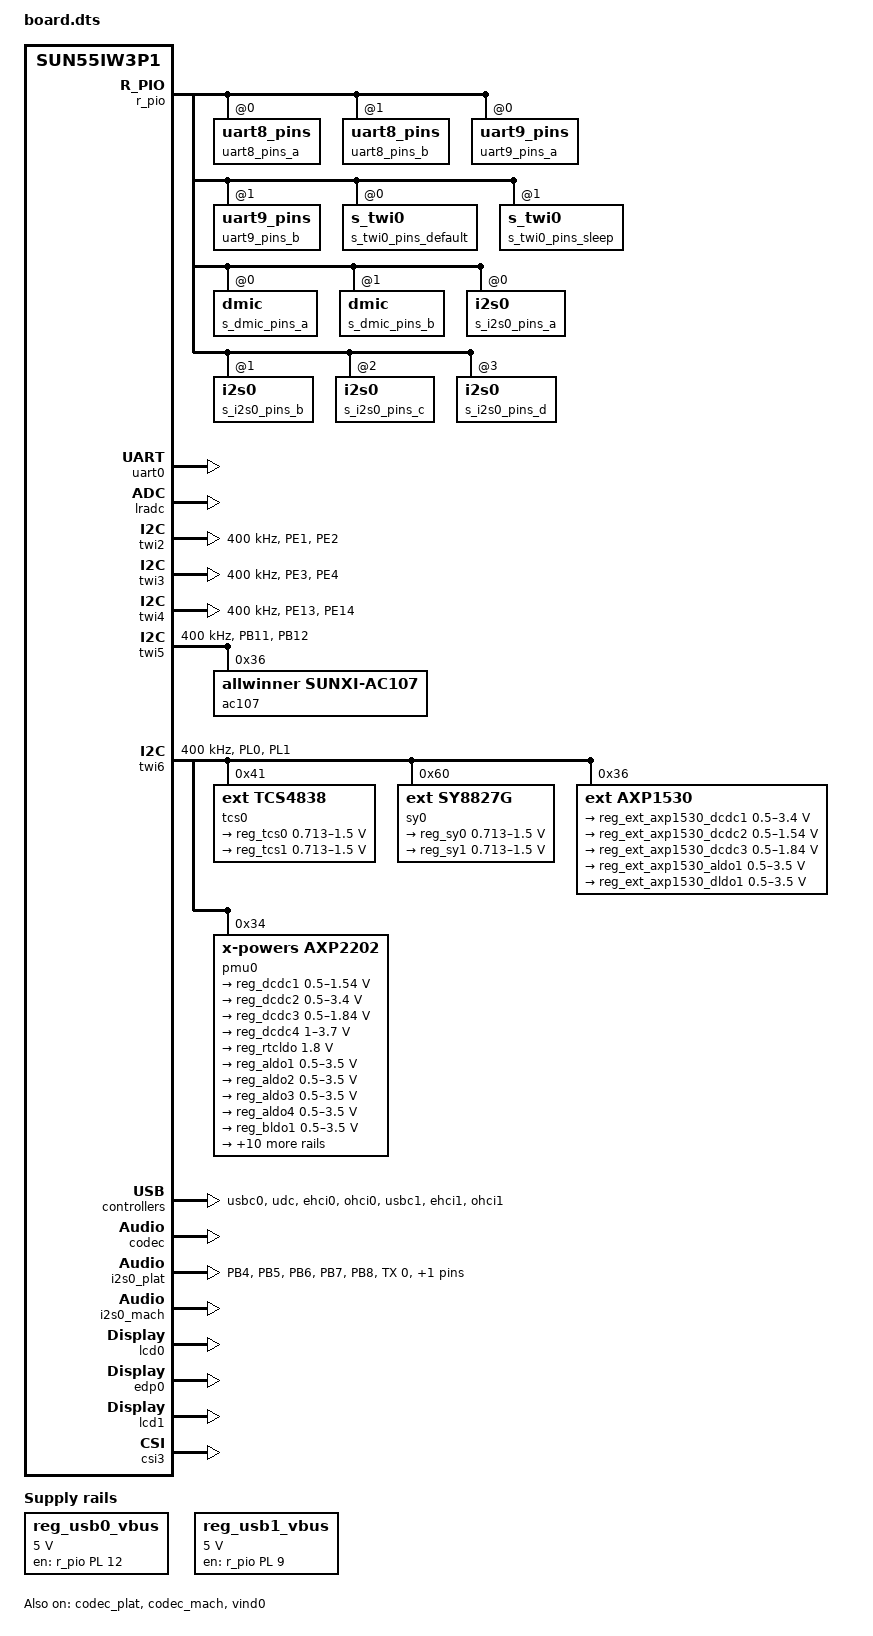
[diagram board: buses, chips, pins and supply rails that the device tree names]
// SPDX-License-Identifier: (GPL-2.0+ or MIT)

/dts-v1/;

#include "sun55iw3p1.dtsi"

/{
	board = "A523", "A523-PERF1-AXP717C";
	compatible = "allwinner,a523", "arm,sun55iw3p1";
	aliases {
		pmu0 = &pmu0;
		axp1530 = &axp1530;
		reg-tcs0 = &reg_tcs0;
		reg-sy0 = &reg_sy0;
		reg-axp1530 = &reg_ext_axp1530_dcdc1;
		tcs0 = &tcs0;
		sy0 = &sy0;
		cpu-ext = &cpu4;
	};

	reg_usb0_vbus: usb0-vbus {
		compatible = "regulator-fixed";
		regulator-name = "usb0-vbus";
		regulator-min-microvolt = <5000000>;
		regulator-max-microvolt = <5000000>;
		regulator-enable-ramp-delay = <1000>;
		gpio = <&r_pio PL 12 GPIO_ACTIVE_HIGH>;
		enable-active-high;
	};

	reg_usb1_vbus: usb1-vbus {
		compatible = "regulator-fixed";
		regulator-name = "usb1-vbus";
		regulator-min-microvolt = <5000000>;
		regulator-max-microvolt = <5000000>;
		regulator-enable-ramp-delay = <1000>;
		gpio = <&r_pio PL 9 GPIO_ACTIVE_HIGH>;
		enable-active-high;
	};
};

&pio {
	uart0_pins_a: uart0_pins@0 {
		pins = "", "";
		function = "uart0";
	};

	uart0_pins_b: uart0_pins@1 {
		pins = "", "";
		function = "gpio_in";
	};

	uart1_pins_a: uart1@0 {
		pins = "PG6", "PG7", "PG8", "PG9";
		function = "uart1";
	};

	uart1_pins_b: uart1@1 {
		pins = "PG6", "PG7", "PG8", "PG9";
		function = "gpio_in";
	};

	uart2_pins_a: uart2_pins@0 {
		pins = "PB0", "PB1";
		function = "uart2";
	};

	uart2_pins_b: uart2_pins@1 {
		pins = "PB0", "PB1";
		function = "gpio_in";
	};

	uart3_pins_a: uart3_pins@0 {
		pins = "PD14", "PD15";
		function = "uart3";
	};

	uart3_pins_b: uart3_pins@1 {
		pins = "PD14", "PD15";
		function = "gpio_in";
	};

	uart4_pins_a: uart4_pins@0 {
		pins = "PD18", "PD19";
		function = "uart4";
	};

	uart4_pins_b: uart4_pins@1 {
		pins = "PD18", "PD19";
		function = "gpio_in";
	};

	uart5_pins_a: uart5_pins@0 {
		pins = "PE11", "PE12";
		function = "uart5";
	};

	uart5_pins_b: uart5_pins@1 {
		pins = "PE11", "PE12";
		function = "gpio_in";
	};

	uart6_pins_a: uart6_pins@0 {
		pins = "PK18", "PK19";
		function = "uart6";
	};

	uart6_pins_b: uart6_pins@1 {
		pins = "PK18", "PK19";
		function = "gpio_in";
	};

	uart7_pins_a: uart7_pins@0 {
		pins = "PB11", "PB12";
		function = "uart7";
	};

	uart7_pins_b: uart7_pins@1 {
		pins = "PB11", "PB12";
		function = "gpio_in";
	};

	ledc_pins_a: ledc@0 {
		pins = "PE5";
		function = "ledc";
	};

	ledc_pins_b: ledc@1 {
		pins = "PE5";
		function = "gpio_in";
	};

	twi0_pins_default: twi0@0 {
		pins = "PH0", "PH1";
		function = "twi0";
		drive-strength = <10>;
		bias-pull-up;
	};

	twi0_pins_sleep: twi0@1 {
		pins = "PH0", "PH1";
		function = "gpio_in";
	};

	twi1_pins_default: twi1@0 {
		pins = "PH2", "PH3";
		function = "twi1";
		drive-strength = <10>;
		bias-pull-up;
	};

	twi1_pins_sleep: twi1@1 {
		pins = "PH2", "PH3";
		function = "gpio_in";
	};

	twi2_pins_default: twi2@0 {
		pins = "PE1", "PE2";
		function = "twi2";
		drive-strength = <10>;
		bias-pull-up;
	};

	twi2_pins_sleep: twi2@1 {
		pins = "PE1", "PE2";
		function = "gpio_in";
	};

	twi3_pins_default: twi3@0 {
		pins = "PE3", "PE4";
		function = "twi3";
		drive-strength = <10>;
		bias-pull-up;
	};

	twi3_pins_sleep: twi3@1 {
		pins = "PE3", "PE4";
		function = "gpio_in";
	};

	twi4_pins_default: twi4@0 {
		pins = "PE13", "PE14";
		function = "twi4";
		drive-strength = <10>;
		bias-pull-up;
	};

	twi4_pins_sleep: twi4@1 {
		pins = "PE13", "PE14";
		function = "gpio_in";
	};

	twi5_pins_default: twi5@0 {
		pins = "PB11", "PB12";
		function = "twi5";
		drive-strength = <10>;
		bias-pull-up;
	};

	twi5_pins_sleep: twi5@1 {
		pins = "PB11", "PB12";
		function = "gpio_in";
	};

	owa_pins_a: owa@0 {
		pins = "PH6", "PH7";
		function = "owa";
		drive-strength = <20>;
		bias-disable;
	};

	owa_pins_b: owa@1 {
		pins = "PH6", "PH7";
		function = "io_disabled";
		drive-strength = <20>;
		bias-disable;
	};

	dmic_pins_a: dmic@0 {
		pins = "PH8", "PH9", "PH10", "PH11", "PH12";
		function = "dmic";
		drive-strength = <20>;
		bias-disable;
	};

	dmic_pins_b: dmic@1 {
		pins = "PH8", "PH9", "PH10", "PH11", "PH12";
		function = "io_disabled";
		drive-strength = <20>;
		bias-disable;
	};

	i2s0_pins_a: i2s0@0 {
		pins = "PB4", "PB5", "PB6";
		function = "i2s0";
		drive-strength = <20>;
		bias-disable;
	};

	i2s0_pins_b: i2s0@1 {
		pins = "PB4", "PB5", "PB6", "PB7", "PB8";
		function = "io_disabled";
		drive-strength = <20>;
		bias-disable;
	};

	i2s0_pins_c: i2s0@2 {
		pins = "PB7";
		function = "i2s0_dout";
		drive-strength = <20>;
		bias-disable;
	};

	i2s0_pins_d: i2s0@3 {
		pins = "PB8";
		function = "i2s0_din";
		drive-strength = <20>;
		bias-disable;
	};

	i2s1_pins_a: i2s1@0 {
		pins = "PG10", "PG11", "PG12";
		function = "i2s1";
		drive-strength = <20>;
		bias-disable;
	};

	i2s1_pins_b: i2s1@1 {
		pins = "PG10", "PG11", "PG12", "PG13", "PG14";
		function = "io_disabled";
		drive-strength = <20>;
		bias-disable;
	};

	i2s1_pins_c: i2s1@2 {
		pins = "PG13";
		function = "i2s1_dout";
		drive-strength = <20>;
		bias-disable;
	};

	i2s1_pins_d: i2s1@3 {
		pins = "PG14";
		function = "i2s1_din";
		drive-strength = <20>;
		bias-disable;
	};

	i2s2_pins_a: i2s2@0 {
		pins = "PH9", "PH10";
		function = "i2s2";
		drive-strength = <20>;
		bias-disable;
	};

	i2s2_pins_b: i2s2@1 {
		pins = "PH2", "PH3", "PH8", "PH9", "PH10", "PH11", "PH12";
		function = "io_disabled";
		drive-strength = <20>;
		bias-disable;
	};

	i2s2_pins_c: i2s2@2 {
		pins = "PH2", "PH3", "PH12";
		function = "i2s2_din";
		drive-strength = <20>;
		bias-disable;
	};

	i2s2_pins_d: i2s2@3 {
		pins = "PH11";
		function = "i2s2_dout";
		drive-strength = <20>;
		bias-disable;
	};

	i2s2_pins_e: i2s2@4 {
		pins = "PH8";
		function = "i2s2_mclk";
		drive-strength = <20>;
		bias-disable;
	};

	i2s3_pins_a: i2s3@0 {
		pins = "PF3", "PF5", "PF6";
		function = "i2s3";
		drive-strength = <20>;
		bias-disable;
	};

	i2s3_pins_b: i2s3@1 {
		pins = "PF0", "PF1", "PF2", "PF3", "PF4", "PF5", "PF6";
		function = "io_disabled";
		drive-strength = <20>;
		bias-disable;
	};

	i2s3_pins_c: i2s3@2 {
		pins = "PF0", "PF2", "PF4";
		function = "i2s3_din";
		drive-strength = <20>;
		bias-disable;
	};

	i2s3_pins_d: i2s3@3 {
		pins = "PF1";
		function = "i2s3_dout";
		drive-strength = <20>;
		bias-disable;
	};
};

&r_pio {
	uart8_pins_a: uart8_pins@0 {
		pins = "PL2", "PL3";
		function = "s_uart0";
	};

	uart8_pins_b: uart8_pins@1 {
		pins = "PL2", "PL3";
		function = "gpio_in";
	};

	uart9_pins_a: uart9_pins@0 {
		pins = "PM0", "PM1";
		function = "s_uart1";
	};

	uart9_pins_b: uart9_pins@1 {
		pins = "PM0", "PM1";
		function = "gpio_in";
	};

	s_twi0_pins_default: s_twi0@0 {
		pins = "PL0", "PL1";
		function = "s_twi0";
		drive-strength = <10>;
		bias-pull-up;
	};

	s_twi0_pins_sleep: s_twi0@1 {
		pins = "PL0", "PL1";
		function = "gpio_in";
	};

	s_dmic_pins_a: dmic@0 {
		pins = "PL5", "PL6", "PL7", "PL8", "PL9";
		function = "dmic";
		drive-strength = <20>;
		bias-disable;
	};

	s_dmic_pins_b: dmic@1 {
		pins = "PL5", "PL6", "PL7", "PL8", "PL9";
		function = "io_disabled";
		drive-strength = <20>;
		bias-disable;
	};

	s_i2s0_pins_a: i2s0@0 {
		pins = "PL4", "PL5", "PL8";
		function = "i2s0";
		drive-strength = <20>;
		bias-disable;
	};

	s_i2s0_pins_b: i2s0@1 {
		pins = "PL4", "PL5", "PL6", "PL7", "PL8";
		function = "io_disabled";
		drive-strength = <20>;
		bias-disable;
	};

	s_i2s0_pins_c: i2s0@2 {
		pins = "PL6";
		function = "i2s0_din";
		drive-strength = <20>;
		bias-disable;
	};

	s_i2s0_pins_d: i2s0@3 {
		pins = "PL7";
		function = "i2s0_dout";
		drive-strength = <20>;
		bias-disable;
	};
};

&soc {
		auto_print@54321 {
			reg = <0x0 0x54321 0x0 0x0>;
			device_type = "auto_print";
			status = "okay";
		};
};

&uart0 {
	pinctrl-names = "default", "sleep";
	pinctrl-0 = <&uart0_pins_a>;
	pinctrl-1 = <&uart0_pins_b>;
	status = "okay";
};

&uart1 {
	pinctrl-names = "default", "sleep";
	pinctrl-0 = <&uart1_pins_a>;
	pinctrl-1 = <&uart1_pins_b>;
	status = "disabled";
};

&uart2 {
	pinctrl-names = "default", "sleep";
	pinctrl-0 = <&uart2_pins_a>;
	pinctrl-1 = <&uart2_pins_b>;
	status = "disabled";
};

&uart3 {
	pinctrl-names = "default", "sleep";
	pinctrl-0 = <&uart3_pins_a>;
	pinctrl-1 = <&uart3_pins_b>;
	status = "disabled";
};

&uart4 {
	pinctrl-names = "default", "sleep";
	pinctrl-0 = <&uart4_pins_a>;
	pinctrl-1 = <&uart4_pins_b>;
	status = "disabled";
};

&uart5 {
	pinctrl-names = "default", "sleep";
	pinctrl-0 = <&uart5_pins_a>;
	pinctrl-1 = <&uart5_pins_b>;
	status = "disabled";
};

&uart6 {
	pinctrl-names = "default", "sleep";
	pinctrl-0 = <&uart6_pins_a>;
	pinctrl-1 = <&uart6_pins_b>;
	status = "disabled";
};

&uart7 {
	pinctrl-names = "default", "sleep";
	pinctrl-0 = <&uart7_pins_a>;
	pinctrl-1 = <&uart7_pins_b>;
	status = "disabled";
};

&uart8 {
	pinctrl-names = "default", "sleep";
	pinctrl-0 = <&uart8_pins_a>;
	pinctrl-1 = <&uart8_pins_b>;
	status = "disabled";
};

&uart9 {
	pinctrl-names = "default", "sleep";
	pinctrl-0 = <&uart9_pins_a>;
	pinctrl-1 = <&uart9_pins_b>;
	status = "disabled";
};

&ledc  {
	pinctrl-names = "default", "sleep";
	pinctrl-0 = <&ledc_pins_a>;
	pinctrl-1 = <&ledc_pins_b>;
	led_count = <34>;
	output_mode = "GRB";
	reset_ns = <84>;
	t1h_ns = <800>;
	t1l_ns = <320>;
	t0h_ns = <300>;
	t0l_ns = <800>;
	wait_time0_ns = <84>;
	wait_time1_ns = <84>;
	wait_data_time_ns = <600000>;
	status = "disabled";
};

&lradc {
	key_cnt = <5>;
	key0 = <210 115>;
	key1 = <410 114>;
	key2 = <590 139>;
	key3 = <750 28>;
	key4 = <880 172>;
	status = "okay";
};

&twi0 {
	clock-frequency = <400000>;
	pinctrl-0 = <&twi0_pins_default>;
	pinctrl-1 = <&twi0_pins_sleep>;
	pinctrl-names = "default", "sleep";
	/* For stability and backwards compatibility, we recommend setting ‘twi_drv_used’ to 1 */
	twi_drv_used = <1>;
	status = "disabled";
};

&twi1 {
	clock-frequency = <400000>;
	pinctrl-0 = <&twi1_pins_default>;
	pinctrl-1 = <&twi1_pins_sleep>;
	pinctrl-names = "default", "sleep";
	/* For stability and backwards compatibility, we recommend setting ‘twi_drv_used’ to 1 */
	twi_drv_used = <1>;
	status = "disabled";
};

&twi2 {
	clock-frequency = <400000>;
	pinctrl-0 = <&twi2_pins_default>;
	pinctrl-1 = <&twi2_pins_sleep>;
	pinctrl-names = "default", "sleep";
	/* For stability and backwards compatibility, we recommend setting ‘twi_drv_used’ to 1 */
	twi_drv_used = <1>;
	status = "okay";
};

&twi3 {
	clock-frequency = <400000>;
	pinctrl-0 = <&twi3_pins_default>;
	pinctrl-1 = <&twi3_pins_sleep>;
	pinctrl-names = "default", "sleep";
	/* For stability and backwards compatibility, we recommend setting ‘twi_drv_used’ to 1 */
	twi_drv_used = <1>;
	status = "okay";
};

&twi4 {
	clock-frequency = <400000>;
	pinctrl-0 = <&twi4_pins_default>;
	pinctrl-1 = <&twi4_pins_sleep>;
	pinctrl-names = "default", "sleep";
	/* For stability and backwards compatibility, we recommend setting ‘twi_drv_used’ to 1 */
	twi_drv_used = <1>;
	status = "okay";
};

&twi5 {
	clock-frequency = <400000>;
	pinctrl-0 = <&twi5_pins_default>;
	pinctrl-1 = <&twi5_pins_sleep>;
	pinctrl-names = "default", "sleep";
	/* For stability and backwards compatibility, we recommend setting ‘twi_drv_used’ to 1 */
	twi_drv_used = <1>;
	status = "okay";

	ac107: ac107@36 {
		#sound-dai-cells        = <0>;
		compatible              = "allwinner,sunxi-ac107";
		reg                     = <0x36>;
		pllclk-src              = "MCLK";
		sysclk-src              = "MCLK";
		pcm-bit-first           = "MSB";
		frame-sync-width        = <1>;
		tx-pin-chmap0           = <0x10101010>;
		tx-pin-chmap1           = <0x10101010>;
		ch1-dig-vol             = <160>;
		ch2-dig-vol             = <160>;
		ch1-pga-gain            = <26>;
		ch2-pga-gain            = <26>;
		status                  = "okay";
	};
};

&twi6 {
	clock-frequency = <400000>;
	pinctrl-0 = <&s_twi0_pins_default>;
	pinctrl-1 = <&s_twi0_pins_sleep>;
	pinctrl-names = "default", "sleep";
	device_type = "twi6";
	/* For stability and backwards compatibility, we recommend setting ‘twi_drv_used’ to 1 */
	twi_drv_used = <1>;
	no_suspend = <1>;
	status = "okay";

	tcs0: tcs@41 {
		compatible = "ext,tcs4838";
		reg = <0x41>;
		status = "okay";
		tcs4838_delay = <0>;
		regulator1: regulators@1 {
			reg_tcs0: dcdc0 {
				regulator-name = "tcs4838-dcdc0";
				regulator-min-microvolt = <712500>;
				regulator-max-microvolt = <1500000>;
				regulator-ramp-delay = <520>;
				regulator-enable-ramp-delay = <1000>;
				regulator-always-on;
				regulator-boot-on;
			};
			reg_tcs1: dcdc1 {
				regulator-name = "tcs4838-dcdc1";
				regulator-min-microvolt = <712500>;
				regulator-max-microvolt = <1500000>;
				regulator-ramp-delay = <520>;
				regulator-enable-ramp-delay = <1000>;
			};
		};
		virtual-ext-dcdc0 {
			compatible = "xpower-vregulator,ext-dcdc0";
			dcdc0-supply = <&reg_tcs0>;
		};
		virtual-ext-dcdc1 {
			compatible = "xpower-vregulator,ext-dcdc1";
			dcdc1-supply = <&reg_tcs1>;
		};
	};

	sy0: sy@60 {
		compatible = "ext,sy8827g";
		reg = <0x60>;
		status = "okay";
		sy8827g_delay = <0>;
		regulator2: regulators@2 {
			reg_sy0: dcdc0 {
				regulator-name = "sy8827g-dcdc0";
				regulator-min-microvolt = <712500>;
				regulator-max-microvolt = <1500000>;
				regulator-ramp-delay = <520>;
				regulator-enable-ramp-delay = <1000>;
				regulator-always-on;
				regulator-boot-on;
			};
			reg_sy1: dcdc1 {
				regulator-name = "sy8827g-dcdc1";
				regulator-min-microvolt = <712500>;
				regulator-max-microvolt = <1500000>;
				regulator-ramp-delay = <520>;
				regulator-enable-ramp-delay = <1000>;
			};
		};
		virtual-ext-dcdc0 {
			compatible = "xpower-vregulator,ext-dcdc0";
			dcdc0-supply = <&reg_sy0>;
		};
		virtual-ext-dcdc1 {
			compatible = "xpower-vregulator,ext-dcdc1";
			dcdc1-supply = <&reg_sy1>;
		};
	};

	axp1530: axp1530@36{
		compatible = "ext,axp1530";
		status = "okay";
		reg = <0x36>;

		wakeup-source;

		regulators{
			reg_ext_axp1530_dcdc1: dcdc1 {
				regulator-name = "axp1530-dcdc1";
				regulator-min-microvolt = <500000>;
				regulator-max-microvolt = <3400000>;
				regulator-step-delay-us = <25>;
				regulator-final-delay-us = <50>;
				regulator-always-on;
			};

			reg_ext_axp1530_dcdc2: dcdc2 {
				regulator-name = "axp1530-dcdc2";
				regulator-min-microvolt = <500000>;
				regulator-max-microvolt = <1540000>;
				regulator-step-delay-us = <25>;
				regulator-final-delay-us = <50>;
				regulator-ramp-delay = <200>; /* FIXME */
				regulator-always-on;
			};

			reg_ext_axp1530_dcdc3: dcdc3 {
				regulator-name = "axp1530-dcdc3";
				regulator-min-microvolt = <500000>;
				regulator-max-microvolt = <1840000>;
				regulator-step-delay-us = <25>;
				regulator-final-delay-us = <50>;
			};

			reg_ext_axp1530_aldo1: ldo1 {
				regulator-name = "axp1530-aldo1";
				regulator-min-microvolt = <500000>;
				regulator-max-microvolt = <3500000>;
				regulator-step-delay-us = <25>;
				regulator-final-delay-us = <50>;
			};

			reg_ext_axp1530_dldo1: ldo2 {
				regulator-name = "axp1530-dldo1";
				regulator-min-microvolt = <500000>;
				regulator-max-microvolt = <3500000>;
				regulator-step-delay-us = <25>;
				regulator-final-delay-us = <50>;
			};
		};
		virtual-ext-dcdc1 {
			compatible = "xpower-vregulator,ext-dcdc1";
			dcdc1-supply = <&reg_ext_axp1530_dcdc1>;
		};
		virtual-ext-dcdc2 {
			compatible = "xpower-vregulator,ext-dcdc2";
			dcdc2-supply = <&reg_ext_axp1530_dcdc2>;
		};
		virtual-ext-dcdc3 {
			compatible = "xpower-vregulator,ext-dcdc3";
			dcdc3-supply = <&reg_ext_axp1530_dcdc3>;
		};
		virtual-ext-aldo1 {
			compatible = "xpower-vregulator,ext-aldo1";
			aldo1-supply = <&reg_ext_axp1530_aldo1>;
		};
		virtual-ext-dldo1 {
			compatible = "xpower-vregulator,ext-dldo1";
			dldo1-supply = <&reg_ext_axp1530_dldo1>;
		};

	};

	pmu0: pmu@34 {
		compatible = "x-powers,axp2202";
		reg = <0x34>;
		status = "okay";
		interrupts = <0 IRQ_TYPE_LEVEL_LOW>;
		interrupt-parent = <&nmi_intc>;
		x-powers,drive-vbus-en;
		pmu_reset = <0>;
		pmu_irq_wakeup = <1>;
		pmu_hot_shutdown = <1>;

		wakeup-source;

		usb_power_supply: usb_power_supply {
			compatible = "x-powers,axp2202-usb-power-supply";
			status = "okay";

			pmu_usbpc_vol = <4600>;
			pmu_usbpc_cur = <500>;
			pmu_usbad_vol = <4000>;
			pmu_usbad_cur = <2500>;
			pmu_usb_typec_used = <1>;
			wakeup_usb_in;
			wakeup_usb_out;
			/* wakeup_typec_in; */
			/* wakeup_typec_out; */

			det_acin_supply = <&gpio_power_supply>;
			pmu_acin_usbid_drv = <&pio PH 12 GPIO_ACTIVE_LOW>;
			pmu_vbus_det_gpio = <&pio PH 13 GPIO_ACTIVE_LOW>;
		};

		gpio_power_supply: gpio_power_supply {
			compatible = "x-powers,gpio-supply";
			status = "disabled";
			pmu_acin_det_gpio = <&pio PH 14 GPIO_ACTIVE_LOW>;
			det_usb_supply = <&usb_power_supply>;
		};

		bat_power_supply: bat-power-supply {
			compatible = "x-powers,axp2202-bat-power-supply";
			param = <&axp2202_parameter>;
			status = "okay";

			pmu_chg_ic_temp = <0>;

			pmu_battery_rdc= <170>;
			pmu_battery_cap = <5000>;
			pmu_runtime_chgcur = <1000>;
			pmu_suspend_chgcur = <1500>;
			pmu_shutdown_chgcur = <1500>;
			pmu_init_chgvol = <4350>;
			pmu_battery_warning_level1 = <15>;
			pmu_battery_warning_level2 = <0>;
			pmu_chgled_func = <0>;
			pmu_chgled_type = <0>;
			pmu_bat_para1 = <0>;
			pmu_bat_para2 = <0>;
			pmu_bat_para3 = <0>;
			pmu_bat_para4 = <0>;
			pmu_bat_para5 = <0>;
			pmu_bat_para6 = <0>;
			pmu_bat_para7 = <2>;
			pmu_bat_para8 = <3>;
			pmu_bat_para9 = <4>;
			pmu_bat_para10 = <6>;
			pmu_bat_para11 = <9>;
			pmu_bat_para12 = <14>;
			pmu_bat_para13 = <26>;
			pmu_bat_para14 = <38>;
			pmu_bat_para15 = <49>;
			pmu_bat_para16 = <52>;
			pmu_bat_para17 = <56>;
			pmu_bat_para18 = <60>;
			pmu_bat_para19 = <64>;
			pmu_bat_para20 = <70>;
			pmu_bat_para21 = <77>;
			pmu_bat_para22 = <83>;
			pmu_bat_para23 = <87>;
			pmu_bat_para24 = <90>;
			pmu_bat_para25 = <95>;
			pmu_bat_para26 = <99>;
			pmu_bat_para27 = <99>;
			pmu_bat_para28 = <100>;
			pmu_bat_para29 = <100>;
			pmu_bat_para30 = <100>;
			pmu_bat_para31 = <100>;
			pmu_bat_para32 = <100>;

			pmu_bat_temp_enable = <1>;
			pmu_jetia_en        = <1>;
			pmu_bat_charge_ltf = <1695>; //-5
			pmu_bat_charge_htf = <151>; //60
			pmu_bat_shutdown_ltf = <2125>; //-10
			pmu_bat_shutdown_htf = <131>; //65
			pmu_jetia_cool = <1361>; //0
			pmu_jetia_warm = <208>; //50
			pmu_jcool_ifall = <0>;//100%
			pmu_jwarm_ifall = <0>;//100%
			pmu_bat_temp_para1 = <4378>; //Murata -25
			pmu_bat_temp_para2 = <2682>; //-15
			pmu_bat_temp_para3 = <2125>; //-10
			pmu_bat_temp_para4 = <1695>; //-5
			pmu_bat_temp_para5 = <1361>;//0
			pmu_bat_temp_para6 = <1101>; //5
			pmu_bat_temp_para7 = <896>; //10
			pmu_bat_temp_para8 = <604>; //20
			pmu_bat_temp_para9 = <416>; //30
			pmu_bat_temp_para10 = <292>; //40
			pmu_bat_temp_para11 = <246>; //45
			pmu_bat_temp_para12 = <208>; //50
			pmu_bat_temp_para13 = <177>; //55
			pmu_bat_temp_para14 = <151>; //60
			pmu_bat_temp_para15 = <111>; //70
			pmu_bat_temp_para16 = <83>; //80

			wakeup_bat_out;
			/* wakeup_new_soc; */
			/* wakeup_bat_in; */
			/* wakeup_bat_charging; */
			/* wakeup_bat_charge_over; */
			/* wakeup_low_warning1; */
			/* wakeup_low_warning2; */
			wakeup_bat_untemp_work;
			wakeup_bat_ovtemp_work;
			/* wakeup_bat_untemp_chg; */
			/* wakeup_bat_ovtemp_chg; */
		};

		powerkey0: powerkey@0 {
			status = "okay";
			compatible = "x-powers,axp2101-pek";
			pmu_powkey_off_time = <6000>;
			pmu_powkey_off_func = <0>;
			pmu_powkey_off_en = <1>;
			pmu_powkey_long_time = <1500>;
			pmu_powkey_on_time = <512>;
			wakeup_rising;
			wakeup_falling;
		};

		regulator0: regulators@0 {
			reg_dcdc1: dcdc1 {
				regulator-name = "axp2202-dcdc1";
				regulator-min-microvolt = <500000>;
				regulator-max-microvolt = <1540000>;
				regulator-ramp-delay = <250>;
				regulator-enable-ramp-delay = <1000>;
				regulator-boot-on;
				regulator-always-on;
			};
			reg_dcdc2: dcdc2 {
				regulator-name = "axp2202-dcdc2";
				regulator-min-microvolt = <500000>;
				regulator-max-microvolt = <3400000>;
				regulator-ramp-delay = <250>;
				regulator-enable-ramp-delay = <1000>;
				regulator-boot-on;
				regulator-always-on;
			};
			reg_dcdc3: dcdc3 {
				regulator-name = "axp2202-dcdc3";
				regulator-min-microvolt = <500000>;
				regulator-max-microvolt = <1840000>;
				regulator-ramp-delay = <250>;
				regulator-enable-ramp-delay = <1000>;
				regulator-always-on;
			};
			reg_dcdc4: dcdc4 {
				regulator-name = "axp2202-dcdc4";
				regulator-min-microvolt = <1000000>;
				regulator-max-microvolt = <3700000>;
				regulator-ramp-delay = <250>;
				regulator-enable-ramp-delay = <1000>;
			};
			reg_rtcldo: rtcldo {
				/* RTC_LDO is a fixed, always-on regulator */
				regulator-name = "axp2202-rtcldo";
				regulator-min-microvolt = <1800000>;
				regulator-max-microvolt = <1800000>;
				regulator-boot-on;
				regulator-always-on;
			};
			reg_aldo1: aldo1 {
				regulator-name = "axp2202-aldo1";
				regulator-min-microvolt = <500000>;
				regulator-max-microvolt = <3500000>;
				regulator-enable-ramp-delay = <1000>;
			};
			reg_aldo2: aldo2 {
				regulator-name = "axp2202-aldo2";
				regulator-min-microvolt = <500000>;
				regulator-max-microvolt = <3500000>;
				regulator-enable-ramp-delay = <1000>;
			};
			reg_aldo3: aldo3 {
				regulator-name = "axp2202-aldo3";
				regulator-min-microvolt = <500000>;
				regulator-max-microvolt = <3500000>;
				regulator-enable-ramp-delay = <1000>;
				regulator-always-on;
				regulator-boot-on;
			};
			reg_aldo4: aldo4 {
				regulator-name = "axp2202-aldo4";
				regulator-min-microvolt = <500000>;
				regulator-max-microvolt = <3500000>;
				regulator-enable-ramp-delay = <1000>;
				regulator-always-on;
				regulator-boot-on;
			};
			reg_bldo1: bldo1 {
				regulator-name = "axp2202-bldo1";
				regulator-min-microvolt = <500000>;
				regulator-max-microvolt = <3500000>;
				regulator-enable-ramp-delay = <1000>;
			};
			reg_bldo2: bldo2 {
				regulator-name = "axp2202-bldo2";
				regulator-min-microvolt = <500000>;
				regulator-max-microvolt = <3500000>;
				regulator-enable-ramp-delay = <1000>;
				regulator-boot-on;
				regulator-always-on;
			};
			reg_bldo3: bldo3 {
				regulator-name = "axp2202-bldo3";
				regulator-min-microvolt = <500000>;
				regulator-max-microvolt = <3500000>;
				regulator-enable-ramp-delay = <1000>;
			};
			reg_bldo4: bldo4 {
				regulator-name = "axp2202-bldo4";
				regulator-min-microvolt = <500000>;
				regulator-max-microvolt = <3500000>;
				regulator-enable-ramp-delay = <1000>;
			};
			reg_cldo1: cldo1 {
				regulator-name = "axp2202-cldo1";
				regulator-min-microvolt = <500000>;
				regulator-max-microvolt = <3500000>;
				regulator-enable-ramp-delay = <1000>;
			};
			reg_cldo2: cldo2 {
				regulator-name = "axp2202-cldo2";
				regulator-min-microvolt = <500000>;
				regulator-max-microvolt = <3500000>;
				regulator-enable-ramp-delay = <1000>;
			};
			reg_cldo3: cldo3 {
				regulator-name = "axp2202-cldo3";
				regulator-min-microvolt = <500000>;
				regulator-max-microvolt = <3500000>;
				regulator-ramp-delay = <2500>;
				regulator-enable-ramp-delay = <1000>;
				regulator-boot-on;
				regulator-always-on;
			};
			reg_cldo4: cldo4 {
				regulator-name = "axp2202-cldo4";
				regulator-min-microvolt = <500000>;
				regulator-max-microvolt = <3500000>;
				regulator-enable-ramp-delay = <1000>;
			};
			reg_cpusldo: cpusldo {
				/* cpus */
				regulator-name = "axp2202-cpusldo";
				regulator-min-microvolt = <500000>;
				regulator-max-microvolt = <1400000>;
				regulator-boot-on;
				regulator-always-on;
			};
			reg_vmid: vmid {
				regulator-name = "axp2202-vmid";
				regulator-enable-ramp-delay = <1000>;
			};
			reg_drivevbus: drivevbus {
				regulator-name = "axp2202-drivevbus";
				regulator-enable-ramp-delay = <1000>;
				drivevbusin-supply = <&reg_vmid>;
			};
		};

		virtual-dcdc1 {
			compatible = "xpower-vregulator,dcdc1";
			dcdc1-supply = <&reg_dcdc1>;
		};
		virtual-dcdc2 {
			compatible = "xpower-vregulator,dcdc2";
			dcdc2-supply = <&reg_dcdc2>;
		};
		virtual-dcdc3 {
			compatible = "xpower-vregulator,dcdc3";
			dcdc3-supply = <&reg_dcdc3>;
		};
		virtual-dcdc4 {
			compatible = "xpower-vregulator,dcdc4";
			dcdc4-supply = <&reg_dcdc4>;
		};
		virtual-rtcldo {
			compatible = "xpower-vregulator,rtcldo";
			rtcldo-supply = <&reg_rtcldo>;
		};
		virtual-aldo1 {
			compatible = "xpower-vregulator,aldo1";
			aldo1-supply = <&reg_aldo1>;
		};
		virtual-aldo2 {
			compatible = "xpower-vregulator,aldo2";
			aldo2-supply = <&reg_aldo2>;
		};
		virtual-aldo3 {
			compatible = "xpower-vregulator,aldo3";
			aldo3-supply = <&reg_aldo3>;
		};
		virtual-aldo4 {
			compatible = "xpower-vregulator,aldo4";
			aldo4-supply = <&reg_aldo4>;
		};
		virtual-bldo1 {
			compatible = "xpower-vregulator,bldo1";
			bldo1-supply = <&reg_bldo1>;
		};
		virtual-bldo2 {
			compatible = "xpower-vregulator,bldo2";
			bldo2-supply = <&reg_bldo2>;
		};
		virtual-bldo3 {
			compatible = "xpower-vregulator,bldo3";
			bldo3-supply = <&reg_bldo3>;
		};
		virtual-bldo4 {
			compatible = "xpower-vregulator,bldo4";
			bldo4-supply = <&reg_bldo4>;
		};
		virtual-cldo1 {
			compatible = "xpower-vregulator,cldo1";
			cldo1-supply = <&reg_cldo1>;
		};
		virtual-cldo2 {
			compatible = "xpower-vregulator,cldo2";
			cldo2-supply = <&reg_cldo2>;
		};
		virtual-cldo3 {
			compatible = "xpower-vregulator,cldo3";
			cldo3-supply = <&reg_cldo3>;
		};
		virtual-cldo4 {
			compatible = "xpower-vregulator,cldo4";
			cldo4-supply = <&reg_cldo4>;
		};
		virtual-cpusldo {
			compatible = "xpower-vregulator,cpusldo";
			cpusldo-supply = <&reg_cpusldo>;
		};
		virtual-drivevbus {
			compatible = "xpower-vregulator,drivevbus";
			drivevbus-supply = <&reg_drivevbus>;
		};
		axp_gpio0: axp_gpio@0 {
			gpio-controller;
			#size-cells = <0>;
			#gpio-cells = <6>;
			status = "okay";
		};
	};
};

/{
	axp2202_parameter:axp2202-parameter {
		select = "battery-model";

		battery-model {
			parameter = /bits/ 8 <0x01 0xf5 0x40 0x00 0x1b 0x1e 0x28 0x0f
				0x0c 0x1e 0x32 0x02 0x14 0x05 0x0a 0x04
				0x74 0xfb 0xc8 0x0d 0x43 0x10 0xcc 0xfb
				0x46 0x01 0xea 0x14 0x10 0x06 0xcc 0x06
				0x9d 0x0b 0x63 0x0f 0xf4 0x0f 0x94 0x0a
				0x4f 0x0e 0xf4 0x0e 0xeb 0x04 0xdd 0x04
				0xd1 0x09 0xc7 0x0e 0xb9 0x0e 0xb6 0x09
				0xae 0x0e 0x97 0x0e 0x97 0x04 0x86 0x04
				0x73 0x09 0x69 0x0e 0x60 0x0e 0x1e 0x08
				0x21 0x58 0x28 0x22 0x18 0x06 0x0d 0x01
				0xc5 0x98 0x7e 0x66 0x4e 0x44 0x38 0x1a
				0x12 0x0a 0xf6 0x00 0x00 0xf6 0x00 0xf6
				0x00 0xfb 0x00 0x00 0xfb 0x00 0x00 0xfb
				0x00 0x00 0xf6 0x00 0x00 0xf6 0x00 0xf6
				0x00 0xfb 0x00 0x00 0xfb 0x00 0x00 0xfb
				0x00 0x00 0xf6 0x00 0x00 0xf6 0x00 0xf6>;
		};
	};
};

/*
 *usb_port_type: usb mode. 0-device, 1-host, 2-otg.
 *usb_detect_type: usb hotplug detect mode. 0-none, 1-vbus/id detect, 2-id/dpdm detect.
 *usb_detect_mode: 0-thread scan, 1-id gpio interrupt.
 *usb_id_gpio: gpio for id detect.
 *usb_det_vbus_gpio: gpio for id detect. gpio or "axp_ctrl";
 *usb_wakeup_suspend：0-SUPER_STANDBY, 1-USB_STANDBY.
 */
&usbc0 {
	device_type = "usbc0";
	usb_port_type = <0x2>;
	usb_detect_type = <0x1>;
	usb_detect_mode = <0x0>;
	usb_id_gpio = <&pio PH 14 GPIO_ACTIVE_HIGH>;
	enable-active-high;
	usb_det_vbus_gpio = <&r_pio PL 10 GPIO_ACTIVE_HIGH>;
	enable-active-high;
	usb_regulator_io = "nocare";
	usb_wakeup_suspend = <1>;
	usb_luns = <3>;
	usb_serial_unique = <0>;
	usb_serial_number = "20080411";
	rndis_wceis = <1>;
	wakeup-source;
	status = "okay";
};

&udc {
	status = "okay";
};

&ehci0 {
	status = "okay";
};

&ohci0 {
	status = "okay";
};

&usbc1 {
	device_type = "usbc1";
	usb_regulator_io = "nocare";
	usb_wakeup_suspend = <1>;
	wakeup-source;
	status = "okay";
};

&ehci1 {
	drvvbus-supply = <&reg_usb1_vbus>;
	status = "okay";
};

&ohci1 {
	drvvbus-supply = <&reg_usb1_vbus>;
	status = "okay";
};

&sdc2 {
	non-removable;
	bus-width = <8>;
	mmc-ddr-1_8v;
	mmc-hs200-1_8v;
	mmc-hs400-1_8v;
	no-sdio;
	no-sd;
	ctl-spec-caps = <0x308>;
	cap-mmc-highspeed;
	sunxi-power-save-mode;
	sunxi-dis-signal-vol-sw;
	mmc-bootpart-noacc;
	/*cap-hsq;*/
	cqe-on;
	ctl-cmdq-md = <0x2>;
	max-frequency = <100000000>;
	vmmc-supply = <&reg_cldo3>;
	/*emmc io vol 3.3v*/
	/*vqmmc-supply = <&reg_aldo1>;*/
	/*emmc io vol 1.8v*/
	vqmmc-supply = <&reg_cldo1>;
	status = "disabled";
};

&ve {
	ve-supply = <&reg_dcdc2>;
};

/* audio dirver module -> audio codec */
&codec {
	tx-hub-en;
	rx-sync-en;

	dac-vol		= <63>;		/* default value:63 range:0->63 */
	dacl-vol	= <160>;	/* default value:160 range:0->255 */
	dacr-vol	= <160>;	/* default value:160 range:0->255 */
	adc1-vol	= <160>;	/* default value:160 range:0->255 */
	adc2-vol	= <160>;	/* default value:160 range:0->255 */
	adc3-vol	= <160>;	/* default value:160 range:0->255 */
	lineout-gain	= <31>;		/* default value:31 range:0->31 */
	hpout-gain	= <7>;		/* default value:7 range:0->7 */
	adc1-gain	= <31>;		/* default value:31 range:0->31 */
	adc2-gain	= <31>;		/* default value:31 range:0->31 */
	adc3-gain	= <31>;		/* default value:31 range:0->31 */

	/* to do: avcc-1.8 vdd33-3.3 cpvin-1.8 */
	avcc-external;
	avcc-supply	= <&reg_aldo4>;
	avcc-vol	= <1800000>;
	vdd-external;
	vdd-supply	= <&reg_cldo3>;
	vdd-vol		= <3300000>;
	cpvin-external;
	cpvin-supply	= <&reg_cldo1>;
	cpvin-vol	= <1800000>;

	pa-pin-max	= <1>;
	pa-pin-0	= <&pio PH 6 GPIO_ACTIVE_HIGH>;
	pa-pin-level-0	= <1>;
	pa-pin-msleep-0	= <0>;

	jack-det-level		= <0>;
	jack-det-threshold	= <8>;
	jack-det-debouce-time	= <250>;
	/* jack-key-det-voltage = <min max> */
	jack-key-det-voltage-hook	= <0 0>;
	jack-key-det-voltage-up		= <2 2>;
	jack-key-det-voltage-down	= <4 5>;
	jack-key-det-voltage-voice	= <1 1>;

	status = "okay";
};

&codec_plat {
	status = "okay";
};

&codec_mach {
	status = "okay";
	soundcard-mach,cpu {
		sound-dai = <&codec_plat>;
	};
	soundcard-mach,codec {
		sound-dai = <&codec>;
	};
};

/* audio dirver module -> owa */
&owa_plat {
	/* pinctrl-used; */
	/* pinctrl-names	= "default","sleep"; */
	/* pinctrl-0	= <&owa_pins_a>; */
	/* pinctrl-1	= <&owa_pins_b>; */
	tx-hub-en;
	status		= "disabled";
};

&owa_mach {
	status		= "disabled";
	soundcard-mach,cpu {
		sound-dai = <&owa_plat>;
	};
	soundcard-mach,codec {
	};
};

/* audio dirver module -> DMIC */
&dmic_plat {
	rx-chmap	= <0x76543210>;
	data-vol	= <0xB0>;
	rxdelaytime	= <0>;
	/* pinctrl-used; */
	/* pinctrl-names	= "default","sleep"; */
	/* pinctrl-0	= <&dmic_pins_a>; */
	/* pinctrl-1	= <&dmic_pins_b>; */
	rx-sync-en;
	status		= "disabled";
};

&dmic_mach {
	status		= "disabled";
	soundcard-mach,cpu {
		sound-dai = <&dmic_plat>;
	};
	soundcard-mach,codec {
	};
};

/* audio dirver module -> I2S/PCM */
&i2s0_plat {
	tdm-num		= <0>;
	tx-pin		= <0>;
	rx-pin		= <0>;
	pinctrl-used;
	pinctrl-names	= "default","sleep";
	pinctrl-0	= <&i2s0_pins_a &i2s0_pins_c &i2s0_pins_d>;
	pinctrl-1	= <&i2s0_pins_b>;
	tx-hub-en;
	rx-sync-en;
	status		= "okay";
};

&i2s0_mach {
	soundcard-mach,format		= "i2s";
	soundcard-mach,frame-master	= <&i2s0_cpu>;
	soundcard-mach,bitclock-master	= <&i2s0_cpu>;
	/* soundcard-mach,frame-inversion; */
	/* soundcard-mach,bitclock-inversion; */
	soundcard-mach,slot-num		= <2>;
	soundcard-mach,slot-width	= <32>;
	soundcard-mach,capture-only;
	status		= "okay";
	i2s0_cpu: soundcard-mach,cpu {
		sound-dai = <&i2s0_plat>;
		/* note: pll freq = 24.576M or 22.5792M * pll-fs */
		soundcard-mach,pll-fs	= <1>;
		/* note:
		 * mclk freq = mclk-fs * 12.288M or 11.2896M	(when mclk-fp ture)
		 * mclk freq = mclk-fs * pcm rate		(when mclk-fp false)
		 */
		soundcard-mach,mclk-fp;
		soundcard-mach,mclk-fs	= <1>;
	};
	i2s0_codec: soundcard-mach,codec {
		sound-dai               = <&ac107>;
		soundcard-mach,pll-fs   = <1>;
	};
};

&i2s1_plat {
	tdm-num		= <1>;
	tx-pin		= <0>;
	rx-pin		= <0>;
	/* pinctrl-used; */
	/* pinctrl-names= "default","sleep"; */
	/* pinctrl-0	= <&i2s1_pins_a &i2s1_pins_c &i2s1_pins_d>; */
	/* pinctrl-1	= <&i2s1_pins_b>; */
	tx-hub-en;
	rx-sync-en;
	status		= "disabled";
};

&i2s1_mach {
	soundcard-mach,format		= "i2s";
	soundcard-mach,frame-master	= <&i2s1_cpu>;
	soundcard-mach,bitclock-master	= <&i2s1_cpu>;
	/* soundcard-mach,frame-inversion; */
	/* soundcard-mach,bitclock-inversion; */
	soundcard-mach,slot-num		= <2>;
	soundcard-mach,slot-width	= <32>;
	status		= "disabled";
	i2s1_cpu: soundcard-mach,cpu {
		sound-dai = <&i2s1_plat>;
		soundcard-mach,pll-fs	= <1>;
		soundcard-mach,mclk-fs	= <0>;
	};
	i2s1_codec: soundcard-mach,codec {
	};
};

&i2s2_plat {
	tdm-num		= <2>;
	tx-pin		= <0>;
	rx-pin		= <0>;
	/* pinctrl-used; */
	/* pinctrl-names= "default","sleep"; */
	/* pinctrl-0	= <&i2s2_pins_a &i2s2_pins_c &i2s2_pins_d &i2s2_pins_e>; */
	/* pinctrl-1	= <&i2s2_pins_b>; */
	tx-hub-en;
	rx-sync-en;
	status		= "disabled";
};

&i2s2_mach {
	soundcard-mach,format		= "i2s";
	soundcard-mach,frame-master	= <&i2s2_cpu>;
	soundcard-mach,bitclock-master	= <&i2s2_cpu>;
	/* soundcard-mach,frame-inversion; */
	/* soundcard-mach,bitclock-inversion; */
	soundcard-mach,slot-num		= <2>;
	soundcard-mach,slot-width	= <32>;
	status		= "disabled";
	i2s2_cpu: soundcard-mach,cpu {
		sound-dai = <&i2s2_plat>;
		soundcard-mach,pll-fs	= <1>;
		soundcard-mach,mclk-fs	= <0>;
	};
	i2s2_codec: soundcard-mach,codec {
	};
};

&i2s3_plat {
	tdm-num		= <3>;
	tx-pin		= <0>;
	rx-pin		= <0>;
	/* pinctrl-used; */
	/* pinctrl-names= "default","sleep"; */
	/* pinctrl-0	= <&i2s3_pins_a &i2s3_pins_c &i2s3_pins_d>; */
	/* pinctrl-1	= <&i2s3_pins_b>; */
	tx-hub-en;
	rx-sync-en;
	status		= "disabled";
};

&i2s3_mach {
	soundcard-mach,format		= "i2s";
	soundcard-mach,frame-master	= <&i2s3_cpu>;
	soundcard-mach,bitclock-master	= <&i2s3_cpu>;
	/* soundcard-mach,frame-inversion; */
	/* soundcard-mach,bitclock-inversion; */
	soundcard-mach,slot-num		= <2>;
	soundcard-mach,slot-width	= <32>;
	status		= "disabled";
	i2s3_cpu: soundcard-mach,cpu {
		sound-dai = <&i2s3_plat>;
		soundcard-mach,pll-fs	= <1>;
		soundcard-mach,mclk-fs	= <0>;
	};
	i2s3_codec: soundcard-mach,codec {
	};
};

/*----------------------------------------------------------------------------------
disp init configuration

disp_mode             (0:screen0<screen0,fb0>)
screenx_output_type   (0:none; 1:lcd; 2:tv; 3:hdmi;5:vdpo)
screenx_output_mode   (used for hdmi output, 0:480i 1:576i 2:480p 3:576p 4:720p50)
                      (5:720p60 6:1080i50 7:1080i60 8:1080p24 9:1080p50 10:1080p60)
screenx_output_format (for hdmi, 0:RGB 1:yuv444 2:yuv422 3:yuv420)
screenx_output_bits   (for hdmi, 0:8bit 1:10bit 2:12bit 2:16bit)
screenx_output_eotf   (for hdmi, 0:reserve 4:SDR 16:HDR10 18:HLG)
screenx_output_cs     (for hdmi, 0:undefined  257:BT709 260:BT601  263:BT2020)
screenx_output_dvi_hdmi (for hdmi, 0:undefined 1:dvi mode 2:hdmi mode)
screen0_output_range   (for hdmi, 0:default 1:full 2:limited)
screen0_output_scan    (for hdmi, 0:no data 1:overscan 2:underscan)
screen0_output_aspect_ratio  (for hdmi, 8-same as original picture 9-4:3 10-16:9 11-14:9)
fbx format            (4:RGB655 5:RGB565 6:RGB556 7:ARGB1555 8:RGBA5551 9:RGB888 10:ARGB8888 12:ARGB4444)
fbx pixel sequence    (0:ARGB 1:BGRA 2:ABGR 3:RGBA)
fb0_scaler_mode_enable(scaler mode enable, used FE)
fbx_width,fbx_height  (framebuffer horizontal/vertical pixels, fix to output resolution while equal 0)
lcdx_backlight        (lcd init backlight,the range:[0,256],default:197
lcdx_yy               (lcd init screen bright/contrast/saturation/hue, value:0~100, default:50/50/57/50)
lcd0_contrast         (LCD contrast, 0~100)
lcd0_saturation       (LCD saturation, 0~100)
lcd0_hue              (LCD hue, 0~100)
framebuffer software rotation setting:
disp_rotation_used:   (0:disable; 1:enable,you must set fbX_width to lcd_y,
set fbX_height to lcd_x)
degreeX:              (X:screen index; 0:0 degree; 1:90 degree; 3:270 degree)
degreeX_Y:            (X:screen index; Y:layer index 0~15; 0:0 degree; 1:90 degree; 3:270 degree)
devX_output_type : config output type in bootGUI framework in UBOOT-2018.
				   (0:none; 1:lcd; 2:tv; 4:hdmi;)
devX_output_mode : config output resolution(see include/video/sunxi_display2.h) of bootGUI framework in UBOOT-2018
devX_screen_id   : config display index of bootGUI framework in UBOOT-2018
devX_do_hpd      : whether do hpd detectation or not in UBOOT-2018
chn_cfg_mode     : Hardware DE channel allocation config. 0:single display with 6
				   channel, 1:dual display with 4 channel in main display and 2 channel in second
                   display, 2:dual display with 3 channel in main display and 3 channel in second
                   in display.
----------------------------------------------------------------------------------*/

&disp {
	disp_init_enable         = <1>;
	disp_mode                = <0>;

	screen0_output_type      = <1>;
	screen0_output_mode      = <4>;
	screen0_to_lcd_index     = <1>;

	screen1_output_type      = <3>;
	screen1_output_mode      = <10>;

	screen1_output_format    = <0>;
	screen1_output_bits      = <0>;
	screen1_output_eotf      = <4>;
	screen1_output_cs        = <257>;
	screen1_output_dvi_hdmi  = <2>;
	screen1_output_range     = <2>;
	screen1_output_scan      = <0>;
	screen1_output_aspect_ratio = <8>;
	screen1_to_lcd_index     = <2>;

	dev0_output_type         = <1>;
	dev0_output_mode         = <4>;
	dev0_screen_id           = <0>;
	dev0_do_hpd              = <0>;

	dev1_output_type         = <4>;
	dev1_output_mode         = <10>;
	dev1_screen_id           = <1>;
	dev1_do_hpd              = <1>;

	def_output_dev           = <0>;
	hdmi_mode_check          = <1>;

	fb_format                = <0>;
	fb_num                   = <1>;
	/*<disp channel layer zorder>*/
	fb0_map                  = <0 1 0 16>;
	fb0_width                = <0>;
	fb0_height               = <0>;
	/*<disp channel layer zorder>*/
	fb1_map                  = <0 2 0 16>;
	fb1_width                = <300>;
	fb1_height               = <300>;
	/*<disp channel layer zorder>*/
	fb2_map                  = <1 0 0 16>;
	fb2_width                = <1280>;
	fb2_height               = <720>;
	/*<disp channel layer zorder>*/
	fb3_map                  = <1 1 0 16>;
	fb3_width                = <300>;
	fb3_height               = <300>;

	chn_cfg_mode             = <1>;
	disp_para_zone           = <1>;

	/* VCC-LCD*/
	/* dc1sw-supply = <&reg_dc1sw>; */
	/* VCC-DSI */
	/* eldo3-supply = <&reg_eldo3>; */
	/* VCC-PD */
	/* dcdc1-supply = <&reg_dcdc1>; */

	cldo4-supply = <&reg_cldo4>;
	cldo1-supply = <&reg_cldo1>;
};

&lcd0 {
	lcd_used            = <1>;
	status              = "okay";
	lcd_driver_name     = "SQ101D_Q5DI404_84H501";
	lcd_backlight       = <50>;
	lcd_if              = <4>;

	lcd_x               = <1200>;
	lcd_y               = <1920>;
	lcd_width           = <136>;
	lcd_height          = <217>;
	lcd_dclk_freq       = <157>;

	lcd_pwm_used        = <0>;
	lcd_pwm_ch          = <7>;
	lcd_pwm_freq        = <50000>;
	lcd_pwm_pol         = <0>;
	lcd_pwm_max_limit   = <255>;

	lcd_hbp             = <50>;
	lcd_ht              = <1330>;
	lcd_hspw            = <10>;
	lcd_vbp             = <20>;
	lcd_vt              = <1960>;
	lcd_vspw            = <4>;

	lcd_frm             = <0>;
	lcd_gamma_en        = <0>;
	lcd_bright_curve_en = <0>;
	lcd_cmap_en         = <0>;

	deu_mode            = <0>;
	lcdgamma4iep        = <22>;
	smart_color         = <90>;

	lcd_dsi_if          = <0>;
	lcd_dsi_lane        = <4>;
	lcd_dsi_format      = <0>;
	lcd_dsi_te          = <0>;
	lcd_dsi_eotp        = <0>;

	lcd_power1 = "cldo4";
	lcd_power2 = "cldo1";

	lcd_gpio_2 = <&pio PD 22 GPIO_ACTIVE_HIGH>; //reset

	pinctrl-0 = <&dsi0_4lane_pins_a>;
	pinctrl-1 = <&dsi0_4lane_pins_b>;

	//lcd_bl_en = <&pio PH 18 GPIO_ACTIVE_HIGH>;
	lcd_bl_0_percent	= <5>;
};

&edp0 {
	// use if hardware reset pin is need
	/* edp_hw_reset_pin = <&pio PH XX GPIO_ACTIVE_LOW>; */

	edp_ssc_en = <0>;
	edp_ssc_mode = <0>;
	edp_psr_support = <0>;
	edp_audio_en = <0>;
	edp_colordepth = <8>; /* 6/8/10/12/16 */
	edp_color_fmt = <0>; /* 0:RGB  1: YUV444  2: YUV422 */

	edp_lane_rate = <1>;
	edp_lane_cnt = <4>;
	lane0_sw = <0>;
	lane0_pre = <2>;
	lane1_sw = <0>;
	lane1_pre = <2>;
	lane2_sw = <0>;
	lane2_pre = <2>;
	lane3_sw = <0>;
	lane3_pre = <2>;
	efficient_training = <1>;

	edp_timings_type = <1>;
	edp_x = <2560>;
	edp_ht = <3504>;
	edp_hspw = <280>;
	edp_hbp = <472>;
	edp_hfp = <192>;
	edp_y = <1600>;
	edp_vt = <1658>;
	edp_vspw = <6>;
	edp_vbp = <49>;
	edp_vfp = <3>;
	edp_hpolar = <1>;
	edp_vpolar = <1>;
	edp_fps = <60>;

	edp_panel_used = <1>;
	edp_panel_driver = "VVX10T025J00_2560X1600";
	edp_bl_en = <&pio PB 14 GPIO_ACTIVE_HIGH>;
	edp_pwm_used = <1>;
	edp_pwm_ch = <4>;
	edp_pwm_freq = <50000>;
	edp_pwm_pol = <0>;
	edp_default_backlight = <200>;
	edp_panel_power_0 = "edp-panel";

	vcc-edp-supply = <&reg_cldo1>;
	vdd-edp-supply = <&reg_dcdc2>;
	edp-panel-supply = <&reg_cldo4>;
	status = "okay";
};

#if 1
&lcd1 {
	lcd_used            = <1>;
	status              = "okay";
	lcd_driver_name     = "SQ101D_Q5DI404_84H501";
	lcd_backlight       = <50>;
	lcd_if              = <4>;

	lcd_x               = <1200>;
	lcd_y               = <1920>;
	lcd_width           = <136>;
	lcd_height          = <217>;
	lcd_dclk_freq       = <157>;

	lcd_pwm_used        = <1>;
	lcd_pwm_ch          = <0>;
	lcd_pwm_freq        = <50000>;
	lcd_pwm_pol         = <0>;
	lcd_pwm_max_limit   = <255>;

	lcd_hbp             = <50>;
	lcd_ht              = <1330>;
	lcd_hspw            = <10>;
	lcd_vbp             = <20>;
	lcd_vt              = <1960>;
	lcd_vspw            = <4>;

	lcd_frm             = <0>;
	lcd_gamma_en        = <0>;
	lcd_bright_curve_en = <0>;
	lcd_cmap_en         = <0>;
	lcd_start_delay     = <5>;

	deu_mode            = <0>;
	lcdgamma4iep        = <22>;
	smart_color         = <90>;

	lcd_dsi_if          = <0>;
	lcd_dsi_lane        = <4>;
	lcd_dsi_format      = <0>;
	lcd_dsi_te          = <0>;
	lcd_dsi_eotp        = <0>;

	lcd_power1 = "cldo4";
	lcd_power2 = "cldo1";

	lcd_gpio_2 = <&pio PD 22 GPIO_ACTIVE_HIGH>; //reset

	pinctrl-0 = <&dsi1_4lane_pins_a>;
	pinctrl-1 = <&dsi1_4lane_pins_b>;

	lcd_bl_en = <&pio PH 16 GPIO_ACTIVE_HIGH>;
	lcd_bl_0_percent	= <5>;
};
#else

&lcd1 {
	lcd_used            = <1>;

	lcd_driver_name     = "default_lcd";
	lcd_backlight       = <50>;
	lcd_if              = <0>;

	lcd_x               = <800>;
	lcd_y               = <480>;
	lcd_width           = <150>;
	lcd_height          = <94>;
	lcd_dclk_freq       = <48>;

	lcd_pwm_used        = <1>;
	lcd_pwm_ch          = <7>;
	lcd_pwm_freq        = <50000>;
	lcd_pwm_pol         = <0>;

	lcd_hbp             = <55>;
	lcd_ht              = <1240>;
	lcd_hspw            = <20>;
	lcd_vbp             = <35>;
	lcd_vt              = <650>;
	lcd_vspw            = <10>;

	lcd_lvds_if         = <0>;
	lcd_lvds_colordepth = <1>;
	lcd_lvds_mode       = <0>;
	lcd_frm             = <1>;
	lcd_io_phase        = <0x0000>;
	lcd_gamma_en        = <0>;
	lcd_bright_curve_en = <0>;
	lcd_cmap_en         = <0>;

	deu_mode            = <0>;
	lcdgamma4iep        = <22>;
	smart_color         = <90>;

};
#endif

&lcd2 {
	lcd_used            = <1>;

	lcd_driver_name     = "default_lcd";
	lcd_backlight       = <50>;
	lcd_if              = <0>;

	lcd_x               = <800>;
	lcd_y               = <480>;
	lcd_width           = <150>;
	lcd_height          = <94>;
	lcd_dclk_freq       = <48>;

	lcd_pwm_used        = <1>;
	lcd_pwm_ch          = <7>;
	lcd_pwm_freq        = <50000>;
	lcd_pwm_pol         = <0>;

	lcd_hbp             = <55>;
	lcd_ht              = <1240>;
	lcd_hspw            = <20>;
	lcd_vbp             = <35>;
	lcd_vt              = <650>;
	lcd_vspw            = <10>;

	lcd_lvds_if         = <0>;
	lcd_lvds_colordepth = <1>;
	lcd_lvds_mode       = <0>;
	lcd_frm             = <1>;
	lcd_io_phase        = <0x0000>;
	lcd_gamma_en        = <0>;
	lcd_bright_curve_en = <0>;
	lcd_cmap_en         = <0>;

	deu_mode            = <0>;
	lcdgamma4iep        = <22>;
	smart_color         = <90>;

	pinctrl-0 = <&rgb24_pins_a>;
	pinctrl-1 = <&rgb24_pins_b>;
};

/* rgb18 */
/*
&lcd0 {
	lcd_used            = <1>;

	lcd_driver_name     = "default_lcd";
	lcd_backlight       = <50>;
	lcd_if              = <0>;

	lcd_x               = <800>;
	lcd_y               = <480>;
	lcd_width           = <150>;
	lcd_height          = <94>;
	lcd_dclk_freq       = <48>;

	lcd_pwm_used        = <1>;
	lcd_pwm_ch          = <0>;
	lcd_pwm_freq        = <50000>;
	lcd_pwm_pol         = <0>;

	lcd_hbp             = <55>;
	lcd_ht              = <1240>;
	lcd_hspw            = <20>;
	lcd_vbp             = <35>;
	lcd_vt              = <650>;
	lcd_vspw            = <10>;

	lcd_lvds_if         = <0>;
	lcd_lvds_colordepth = <1>;
	lcd_lvds_mode       = <0>;
	lcd_frm             = <1>;
	lcd_io_phase        = <0x0000>;
	lcd_gamma_en        = <0>;
	lcd_bright_curve_en = <0>;
	lcd_cmap_en         = <0>;

	deu_mode            = <0>;
	lcdgamma4iep        = <22>;
	smart_color         = <90>;

	lcd_power = "cldo4";

	pinctrl-0 = <&rgb18_pins_a>;
	pinctrl-1 = <&rgb18_pins_b>;
}; */

/*lvds*/
/*&lcd0 {
    lcd_used            = <1>;

    lcd_driver_name     = "default_lcd";
    lcd_backlight       = <50>;
    lcd_if              = <3>;
    lcd_x               = <1024>;
    lcd_y               = <600>;
    lcd_width           = <223>;
    lcd_height          = <125>;
    lcd_dclk_freq       = <51>;
    lcd_pwm_used        = <1>;
    lcd_pwm_ch          = <0>;
    lcd_pwm_freq        = <50000>;
    lcd_pwm_pol         = <0>;
    lcd_pwm_max_limit   = <255>;
    lcd_hbp             = <20>;
    lcd_ht              = <1344>;
    lcd_hspw            = <10>;
    lcd_vbp             = <20>;
    lcd_vt              = <635>;
    lcd_vspw            = <10>;
    lcd_lvds_if         = <0>;
    lcd_lvds_colordepth = <0>;
    lcd_lvds_mode       = <0>;
    lcd_frm             = <0>;
    lcd_hv_clk_phase    = <0>;
    lcd_hv_sync_polarity= <0>;
    lcd_gamma_en        = <0>;
    lcd_bright_curve_en = <0>;
    lcd_cmap_en         = <0>;

    deu_mode            = <0>;
    lcdgamma4iep        = <22>;
    smart_color         = <90>;
    pinctrl-0 = <&lvds0_pins_a>;
    pinctrl-1 = <&lvds0_pins_b>;
};*/

&cpu0 {
	cpu-supply = <&reg_dcdc1>;
};

&cpu4 {
	cpu-supply = <&reg_ext_axp1530_dcdc1>;
};

&gpu {
	gpu_idle = <1>;
	dvfs_status = <1>;
	mali-supply = <&reg_dcdc2>;
};

&vind0 {
	csi_top = <384000000>;
	csi_isp = <312000000>;
	vind_mclkpin-supply = <&reg_aldo2>;
	vind_mclkpin_vol = <3300000>;
	vind_mcsipin-supply = <&reg_cldo1>;
	vind_mcsipin_vol = <1800000>;
	vind_mipipin-supply = <&reg_cldo3>;
	vind_mipipin_vol = <3300000>;
	status = "okay";

	csi3:csi@5823000 {
		pinctrl-names = "","";
		pinctrl-0 = <>;
		pinctrl-1 = <>;
		status = "okay";
	};

	tdm0:tdm@5908000 {
		work_mode = <0>;
	};

	isp00:isp@5900000 {
		work_mode = <0>;
	};

	isp01:isp@58ffffc {
		status = "disabled";
	};

	isp02:isp@58ffff8 {
		status = "disabled";
	};

	isp03:isp@58ffff4 {
		status = "disabled";
	};

	isp10:isp@4 {
		status = "disabled";
	};

	scaler00:scaler@5910000 {
		work_mode = <0>;
	};

	scaler01:scaler@590fffc {
		status = "disabled";
	};

	scaler02:scaler@590fff8 {
		status = "disabled";
	};

	scaler03:scaler@590fff4 {
		status = "disabled";
	};

	scaler10:scaler@5910400 {
		work_mode = <0>;
	};

	scaler11:scaler@59103fc {
		status = "disabled";
	};

	scaler12:scaler@59103f8 {
		status = "disabled";
	};

	scaler13:scaler@59103f4 {
		status = "disabled";
	};

	scaler20:scaler@5910800 {
		work_mode = <0>;
	};

	scaler21:scaler@59107fc {
		status = "disabled";
	};

	scaler22:scaler@59107f8 {
		status = "disabled";
	};

	scaler23:scaler@59107f4 {
		status = "disabled";
	};

	scaler30:scaler@5910c00 {
		work_mode = <0>;
	};

	scaler31:scaler@5910bfc {
		status = "disabled";
	};

	scaler32:scaler@5910bf8 {
		status = "disabled";
	};

	scaler33:scaler@5910bf4 {
		status = "disabled";
	};

	actuator0: actuator@2108180 {
		device_type = "actuator0";
		actuator0_name = "an41908a_act";
		actuator0_slave = <0x18>;
		actuator0_af_pwdn = <>;
		actuator0_afvdd = "afvcc-csi";
		actuator0_afvdd_vol = <2800000>;
		status = "disabled";
	};

	flash0: flash@2108190 {
		device_type = "flash0";
		flash0_type = <2>;
		flash0_en = <&r_pio PL 11 GPIO_ACTIVE_LOW>;
		flash0_mode = <>;
		flash0_flvdd = "";
		flash0_flvdd_vol = <>;
		device_id = <0>;
		status = "disabled";
	};

	sensor0:sensor@5812000 {
		device_type = "sensor0";
		sensor0_mname = "imx319_mipi";
		sensor0_twi_cci_id = <4>;
		sensor0_twi_addr = <0x20>;
		sensor0_mclk_id = <2>;
		sensor0_pos = "rear";
		sensor0_isp_used = <1>;
		sensor0_fmt = <1>;
		sensor0_stby_mode = <0>;
		sensor0_vflip = <0>;
		sensor0_hflip = <0>;
		sensor0_cameravdd-supply = <&reg_bldo3>;
		sensor0_cameravdd_vol = <2800000>;
		sensor0_iovdd-supply = <&reg_aldo2>;
		sensor0_iovdd_vol = <1800000>;
		sensor0_avdd-supply = <&reg_aldo1>;
		sensor0_avdd_vol = <2800000>;
		sensor0_dvdd-supply = <&reg_bldo4>;
		sensor0_dvdd_vol = <1200000>;
		sensor0_power_en = <>;
		sensor0_reset = <&pio PE 9 GPIO_ACTIVE_LOW>;
		sensor0_pwdn = <&pio PE 8 GPIO_ACTIVE_LOW>;
		status = "okay";
	};

	sensor1:sensor@5812010 {
		device_type = "sensor1";
		sensor1_mname = "s5k5e8";
		sensor1_twi_cci_id = <2>;
		sensor1_twi_addr = <0x30>;
		sensor1_mclk_id = <0>;
		sensor1_pos = "front";
		sensor1_isp_used = <1>;
		sensor1_fmt = <1>;
		sensor1_stby_mode = <0>;
		sensor1_vflip = <0>;
		sensor1_hflip = <0>;
		sensor1_iovdd-supply = <&reg_aldo2>;
		sensor1_iovdd_vol = <1800000>;
		sensor1_avdd-supply = <&reg_aldo1>;
		sensor1_avdd_vol = <2800000>;
		sensor1_dvdd-supply = <&reg_bldo4>;
		sensor1_dvdd_vol = <1200000>;
		sensor1_power_en = <>;
		sensor1_reset = <&pio PE 7 GPIO_ACTIVE_LOW>;
		sensor1_pwdn = <&pio PE 6 GPIO_ACTIVE_LOW>;
		status = "okay";
	};

	sensor2:sensor@5812020 {
		device_type = "sensor2";
		sensor2_mname = "imx386_mipi";
		sensor2_twi_cci_id = <3>;
		sensor2_twi_addr = <0x34>;
		sensor2_mclk_id = <1>;
		sensor2_pos = "rear";
		sensor2_isp_used = <1>;
		sensor2_fmt = <1>;
		sensor2_stby_mode = <0>;
		sensor2_vflip = <0>;
		sensor2_hflip = <0>;
		sensor2_iovdd-supply = <&reg_aldo2>;
		sensor2_iovdd_vol = <1800000>;
		sensor2_avdd-supply = <&reg_aldo1>;
		sensor2_avdd_vol = <2800000>;
		sensor2_dvdd-supply = <&reg_bldo4>;
		sensor2_dvdd_vol = <1200000>;
		sensor2_power_en = <>;
		sensor2_reset = <&pio PE 11 GPIO_ACTIVE_LOW>;
		sensor2_pwdn = <&pio PE 12 GPIO_ACTIVE_LOW>;
		status = "okay";
	};

	vinc00:vinc@5830000 {
		vinc0_csi_sel = <0>;
		vinc0_mipi_sel = <0>;
		vinc0_isp_sel = <0>;
		vinc0_isp_tx_ch = <0>;
		vinc0_tdm_rx_sel = <0>;
		vinc0_rear_sensor_sel = <0>;
		vinc0_front_sensor_sel = <0>;
		vinc0_sensor_list = <0>;
		device_id = <0>;
		work_mode = <0x0>;
		status = "okay";
	};

	vinc01:vinc@582fffc {
		vinc1_csi_sel = <2>;
		vinc1_mipi_sel = <2>;
		vinc1_isp_sel = <1>;
		vinc1_isp_tx_ch = <0>;
		vinc1_tdm_rx_sel = <1>;
		vinc1_rear_sensor_sel = <1>;
		vinc1_front_sensor_sel = <1>;
		vinc1_sensor_list = <0>;
		device_id = <1>;
		status = "disabled";
	};

	vinc02:vinc@582fff8 {
		vinc2_csi_sel = <3>;
		vinc2_mipi_sel = <3>;
		vinc2_isp_sel = <2>;
		vinc2_isp_tx_ch = <0>;
		vinc2_tdm_rx_sel = <2>;
		vinc2_rear_sensor_sel = <2>;
		vinc2_front_sensor_sel = <2>;
		vinc2_sensor_list = <0>;
		device_id = <2>;
		status = "disabled";
	};

	vinc03:vinc@582fff4 {
		vinc3_csi_sel = <0>;
		vinc3_mipi_sel = <0xff>;
		vinc3_isp_sel = <0>;
		vinc3_isp_tx_ch = <0>;
		vinc3_tdm_rx_sel = <0>;
		vinc3_rear_sensor_sel = <1>;
		vinc3_front_sensor_sel = <1>;
		vinc3_sensor_list = <0>;
		device_id = <3>;
		status = "disabled";
	};

	vinc10:vinc@5831000 {
		vinc4_csi_sel = <0>;
		vinc4_mipi_sel = <0>;
		vinc4_isp_sel = <0>;
		vinc4_isp_tx_ch = <0>;
		vinc4_tdm_rx_sel = <0>;
		vinc4_rear_sensor_sel = <0>;
		vinc4_front_sensor_sel = <0>;
		vinc4_sensor_list = <0>;
		device_id = <4>;
		work_mode = <0x0>;
		status = "okay";
	};

	vinc11:vinc@5830ffc {
		vinc5_csi_sel = <2>;
		vinc5_mipi_sel = <2>;
		vinc5_isp_sel = <1>;
		vinc5_isp_tx_ch = <0>;
		vinc5_tdm_rx_sel = <1>;
		vinc5_rear_sensor_sel = <1>;
		vinc5_front_sensor_sel = <1>;
		vinc5_sensor_list = <0>;
		device_id = <5>;
		status = "disabled";
	};

	vinc12:vinc@5830ff8 {
		vinc6_csi_sel = <3>;
		vinc6_mipi_sel = <3>;
		vinc6_isp_sel = <2>;
		vinc6_isp_tx_ch = <0>;
		vinc6_tdm_rx_sel = <2>;
		vinc6_rear_sensor_sel = <2>;
		vinc6_front_sensor_sel = <2>;
		vinc6_sensor_list = <0>;
		device_id = <6>;
		status = "disabled";
	};

	vinc13:vinc@5830ff4 {
		vinc7_csi_sel = <2>;
		vinc7_mipi_sel = <0xff>;
		vinc7_isp_sel = <0>;
		vinc7_isp_tx_ch = <0>;
		vinc7_tdm_rx_sel = <0>;
		vinc7_rear_sensor_sel = <0>;
		vinc7_front_sensor_sel = <0>;
		vinc7_sensor_list = <0>;
		device_id = <7>;
		status = "disabled";
	};

	vinc20:vinc@5832000 {
		vinc8_csi_sel = <2>;
		vinc8_mipi_sel = <2>;
		vinc8_isp_sel = <0>;
		vinc8_isp_tx_ch = <0>;
		vinc8_tdm_rx_sel = <0>;
		vinc8_rear_sensor_sel = <1>;
		vinc8_front_sensor_sel = <1>;
		vinc8_sensor_list = <0>;
		device_id = <8>;
		work_mode = <0x0>;
		status = "okay";
	};

	vinc21:vinc@5831ffc {
		vinc9_csi_sel = <2>;
		vinc9_mipi_sel = <0xff>;
		vinc9_isp_sel = <0>;
		vinc9_isp_tx_ch = <0>;
		vinc9_tdm_rx_sel = <0>;
		vinc9_rear_sensor_sel = <0>;
		vinc9_front_sensor_sel = <0>;
		vinc9_sensor_list = <0>;
		device_id = <9>;
		status = "disabled";
	};

	vinc22:vinc@5831ff8 {
		vinc10_csi_sel = <2>;
		vinc10_mipi_sel = <0xff>;
		vinc10_isp_sel = <0>;
		vinc10_isp_tx_ch = <0>;
		vinc10_tdm_rx_sel = <0>;
		vinc10_rear_sensor_sel = <0>;
		vinc10_front_sensor_sel = <0>;
		vinc10_sensor_list = <0>;
		device_id = <10>;
		status = "disabled";
	};

	vinc23:vinc@5831ff4 {
		vinc11_csi_sel = <2>;
		vinc11_mipi_sel = <0xff>;
		vinc11_isp_sel = <0>;
		vinc11_isp_tx_ch = <0>;
		vinc11_tdm_rx_sel = <0>;
		vinc11_rear_sensor_sel = <0>;
		vinc11_front_sensor_sel = <0>;
		vinc11_sensor_list = <0>;
		device_id = <11>;
		status = "disabled";
	};

	vinc30:vinc@5833000 {
		vinc12_csi_sel = <2>;
		vinc12_mipi_sel = <2>;
		vinc12_isp_sel = <0>;
		vinc12_isp_tx_ch = <0>;
		vinc12_tdm_rx_sel = <0>;
		vinc12_rear_sensor_sel = <1>;
		vinc12_front_sensor_sel = <1>;
		vinc12_sensor_list = <0>;
		device_id = <12>;
		work_mode = <0x0>;
		status = "okay";
	};

	vinc31:vinc@5832ffc {
		vinc13_csi_sel = <2>;
		vinc13_mipi_sel = <0xff>;
		vinc13_isp_sel = <0>;
		vinc13_isp_tx_ch = <0>;
		vinc13_tdm_rx_sel = <0>;
		vinc13_rear_sensor_sel = <0>;
		vinc13_front_sensor_sel = <0>;
		vinc13_sensor_list = <0>;
		device_id = <13>;
		status = "disabled";
	};

	vinc32:vinc@5832ff8 {
		vinc14_csi_sel = <2>;
		vinc14_mipi_sel = <0xff>;
		vinc14_isp_sel = <0>;
		vinc14_isp_tx_ch = <0>;
		vinc14_tdm_rx_sel = <0>;
		vinc14_rear_sensor_sel = <0>;
		vinc14_front_sensor_sel = <0>;
		vinc14_sensor_list = <0>;
		device_id = <14>;
		status = "disabled";
	};

	vinc33:vinc@5832ff4 {
		vinc15_csi_sel = <2>;
		vinc15_mipi_sel = <0xff>;
		vinc15_isp_sel = <0>;
		vinc15_isp_tx_ch = <0>;
		vinc15_tdm_rx_sel = <0>;
		vinc15_rear_sensor_sel = <0>;
		vinc15_front_sensor_sel = <0>;
		vinc15_sensor_list = <0>;
		device_id = <15>;
		status = "disabled";
	};

	vinc40:vinc@5834000 {
		vinc16_csi_sel = <2>;
		vinc16_mipi_sel = <0xff>;
		vinc16_isp_sel = <0>;
		vinc16_isp_tx_ch = <0>;
		vinc16_tdm_rx_sel = <0>;
		vinc16_rear_sensor_sel = <0>;
		vinc16_front_sensor_sel = <0>;
		vinc16_sensor_list = <0>;
		device_id = <16>;
		status = "disabled";
	};

	vinc50:vinc@5835000 {
		vinc17_csi_sel = <2>;
		vinc17_mipi_sel = <0xff>;
		vinc17_isp_sel = <0>;
		vinc17_isp_tx_ch = <0>;
		vinc17_tdm_rx_sel = <0>;
		vinc17_rear_sensor_sel = <0>;
		vinc17_front_sensor_sel = <0>;
		vinc17_sensor_list = <0>;
		device_id = <17>;
		status = "disabled";
	};
};

